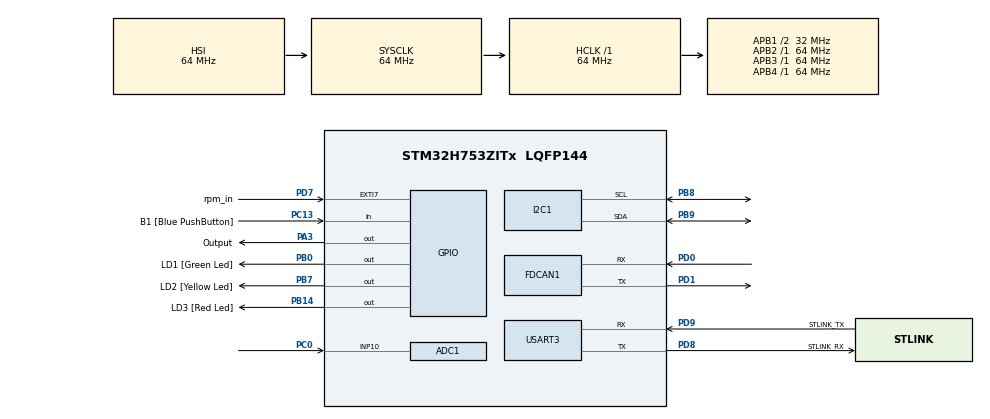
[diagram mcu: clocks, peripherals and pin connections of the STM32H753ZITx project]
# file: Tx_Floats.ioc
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ADC1.Channel-0\#ChannelRegularConversion=ADC_CHANNEL_10
ADC1.NbrOfConversionFlag=1
ADC1.OffsetNumber-0\#ChannelRegularConversion=ADC_OFFSET_NONE
ADC1.OffsetSignedSaturation-0\#ChannelRegularConversion=DISABLE
ADC1.Rank-0\#ChannelRegularConversion=1
ADC1.SamplingTime-0\#ChannelRegularConversion=ADC_SAMPLETIME_1CYCLE_5
ADC1.master=1
CORTEX_M7.CPU_DCache=Disabled
CORTEX_M7.CPU_ICache=Disabled
CORTEX_M7.MPU_Control=__NULL
CORTEX_M7.default_mode_Activation=1
FDCAN1.AutoRetransmission=ENABLE
FDCAN1.CalculateBaudRateNominal=500000
FDCAN1.CalculateTimeBitNominal=2000
FDCAN1.CalculateTimeQuantumNominal=25.0
FDCAN1.DataPrescaler=16
FDCAN1.DataSyncJumpWidth=2
FDCAN1.DataTimeSeg1=2
FDCAN1.DataTimeSeg2=2
FDCAN1.FrameFormat=FDCAN_FRAME_FD_BRS
FDCAN1.NominalPrescaler=1
FDCAN1.NominalSyncJumpWidth=11
FDCAN1.NominalTimeSeg1=68
FDCAN1.NominalTimeSeg2=11
FDCAN1.RxBufferSize=FDCAN_DATA_BYTES_32
FDCAN1.RxFifo0ElmtSize=FDCAN_DATA_BYTES_32
FDCAN1.RxFifo1ElmtSize=FDCAN_DATA_BYTES_32
FDCAN1.StdFiltersNbr=1
FDCAN1.TxElmtSize=FDCAN_DATA_BYTES_32
FDCAN1.TxFifoQueueElmtsNbr=1
I2C1.Timing=0x00707CBB
Mcu.Family=STM32H7
Mcu.Name=STM32H753ZITx
Mcu.Package=LQFP144
NVIC.EXTI9_5_IRQn=true\:0\:0\:false\:false\:true\:true\:true\:true
NVIC.FDCAN1_IT0_IRQn=true\:0\:0\:false\:false\:true\:true\:true\:true
NVIC.PriorityGroup=NVIC_PRIORITYGROUP_4
PA3.GPIO_Label=Output
PA3.Signal=GPIO_Output
PB0.GPIO_Label=LD1 [Green Led]
PB0.Signal=GPIO_Output
PB14.GPIO_Label=LD3 [Red Led]
PB14.Signal=GPIO_Output
PB7.GPIO_Label=LD2 [Yellow Led]
PB7.Signal=GPIO_Output
PB8.Mode=I2C
PB8.Signal=I2C1_SCL
PB9.Mode=I2C
PB9.Signal=I2C1_SDA
PC0.Signal=ADCx_INP10
PC13.GPIO_Label=B1 [Blue PushButton]
PC13.Signal=GPIO_Input
PC14-OSC32_IN\ (OSC32_IN).Signal=RCC_OSC32_IN
PC15-OSC32_OUT\ (OSC32_OUT).Signal=RCC_OSC32_OUT
PD0.Mode=FDCAN_Activate
PD0.Signal=FDCAN1_RX
PD1.Mode=FDCAN_Activate
PD1.Signal=FDCAN1_TX
PD7.GPIO_Label=rpm_in
PD7.Signal=GPXTI7
PD8.GPIO_Label=STLINK_RX
PD8.Mode=Asynchronous
PD8.Signal=USART3_TX
PD9.GPIO_Label=STLINK_TX
PD9.Mode=Asynchronous
PD9.Signal=USART3_RX
PH0-OSC_IN\ (PH0).Signal=RCC_OSC_IN
PH1-OSC_OUT\ (PH1).Signal=RCC_OSC_OUT
ProjectManager.HeapSize=0x200
ProjectManager.StackSize=0x400
ProjectManager.TargetToolchain=STM32CubeIDE
RCC.ADCFreq_Value=80000000
RCC.APB1Freq_Value=32000000
RCC.APB2Freq_Value=64000000
RCC.APB3Freq_Value=64000000
RCC.APB4Freq_Value=64000000
RCC.CortexFreq_Value=64000000
RCC.D2PPRE1=RCC_APB1_DIV2
RCC.DIVM1=4
RCC.DIVM2=4
RCC.DIVN1=10
RCC.DIVN2=10
RCC.DIVQ1=4
RCC.DIVQ2=4
RCC.HCLKFreq_Value=64000000
RCC.HSE_VALUE=8000000
RCC.PLL2FRACN=0
RCC.PLL3FRACN=0
RCC.PLLFRACN=0
RCC.SYSCLKFreq_VALUE=64000000
RCC.USBFreq_Value=40000000
SH.ADCx_INP10.0=ADC1_INP10,IN10-Single-Ended
TIM6.Period=0xffff-1
TIM6.Prescaler=64-1
USART3.VirtualMode-Asynchronous=VM_ASYNC
VP_MEMORYMAP_VS_MEMORYMAP.Mode=CurAppReg
VP_TIM6_VS_ClockSourceINT.Mode=Enable_Timer
board=NUCLEO-H753ZI

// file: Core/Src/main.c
/* USER CODE BEGIN Header */
/**
  ******************************************************************************
  * @file           : main.c
  * @brief          : Main program body
  ******************************************************************************
  * @attention
  *
  * Copyright (c) 2025 STMicroelectronics.
  * All rights reserved.
  *
  * This software is licensed under terms that can be found in the LICENSE file
  * in the root directory of this software component.
  * If no LICENSE file comes with this software, it is provided AS-IS.
  *
  ******************************************************************************
  */
/* USER CODE END Header */
#include "main.h"

/* USER CODE BEGIN Includes */
#include "stdio.h"
#include "string.h"

//CAN BUS
#define NODE_A_ID 1
#define ID_NODE_A_TX 0x100

//Temperature - Humidity
#define DHT_PORT Output_GPIO_Port
#define DHT_PIN Output_Pin

//Accelerometer
#define MMA8451_ADDR        (0x1D << 1) // Dirección I2C (shifted)
#define WHO_AM_I_REG        0x0D
#define CTRL_REG1           0x2A
#define OUT_X_MSB           0x01

//Angle
uint16_t ADC_VAL;
float voltage=0;
float angle=0;

//Temperature - Humidity
uint8_t Rh_byte1, Rh_byte2, Temp_byte1, Temp_byte2, reflex;
uint16_t SUM;
typedef struct {
    float Temperature;
    float Humidity;
} DHT_DataTypedef;
float Temperature, Humidity;

DHT_DataTypedef DHT11_Data;

//Acceleration
int16_t ax, ay, az;
float ax_g, ay_g, az_g;

//RPM
volatile uint32_t pulse_count = 0;
uint32_t last_time = 0;
uint32_t rpm = 0;

uint32_t last_interrupt_time = 0;
const uint32_t debounce_ms = 10;

char msg[300];
/* USER CODE END Includes */

/* USER CODE BEGIN PD */
uint8_t Node_ID = NODE_A_ID;

// Datos CAN
FDCAN_TxHeaderTypeDef TxHeader;

uint8_t TxData[32]; // 3 floats x 4 bytes

float float1 = 3.1416f; // Valor de ejemplo a enviar
float float2 = 2.7182f;
float float3 = 1.34f;
float float4 = 3.70f;
float float5 = 9.18f;
float float6 = 6.79f;
float float7 = 5.93f;
float float8 = 10.99f;

/* USER CODE END PD */

ADC_HandleTypeDef hadc1;

FDCAN_HandleTypeDef hfdcan1;

I2C_HandleTypeDef hi2c1;

TIM_HandleTypeDef htim6;

UART_HandleTypeDef huart3;

void SystemClock_Config(void);
static void MX_GPIO_Init(void);
static void MX_FDCAN1_Init(void);
static void MX_USART3_UART_Init(void);
static void MX_I2C1_Init(void);
static void MX_TIM6_Init(void);
static void MX_ADC1_Init(void);

/* USER CODE BEGIN 0 */
void SendFloat(float value1,float value2,float value3,float value4,float value5,float value6,float value7)
{
    // Copiar los floats al buffer
    memcpy(&TxData[0],  &value1, sizeof(float));
    memcpy(&TxData[4],  &value2, sizeof(float));
    memcpy(&TxData[8],  &value3, sizeof(float));
    memcpy(&TxData[12], &value4, sizeof(float));
    memcpy(&TxData[16], &value5, sizeof(float));
    memcpy(&TxData[20], &value6, sizeof(float));
    memcpy(&TxData[24], &value7, sizeof(float));
    //memcpy(&TxData[28], &value8, sizeof(float));

    // Configurar el header (asegúrate de que esto ya está inicializado)
    TxHeader.DataLength = FDCAN_DLC_BYTES_32;  // 12 bytes
    TxHeader.IdType = FDCAN_STANDARD_ID;       // ID estándar

    // Enviar
    if (HAL_FDCAN_AddMessageToTxFifoQ(&hfdcan1, &TxHeader, TxData) != HAL_OK) {
        // Manejar error de transmisión
        Error_Handler();
    }
}

// ***** CODE Interruption for RPM Sensor
void HAL_GPIO_EXTI_Callback(uint16_t GPIO_Pin)
{
    if (GPIO_Pin == rpm_in_Pin)
    {
        uint32_t now = HAL_GetTick();
        if (now - last_interrupt_time > debounce_ms)
        {
            pulse_count++;
            last_interrupt_time = now;
        }
    }
}

// ***** CODE for Sensor DHT-11 Temperature Humidity Sensor

void delay (uint16_t delay)
{
	__HAL_TIM_SET_COUNTER(&htim6,0);
	while (__HAL_TIM_GET_COUNTER(&htim6) < delay);
}
uint8_t Presence = 0;
void Set_Pin_Output (GPIO_TypeDef *GPIOx, uint16_t GPIO_Pin)
{
	GPIO_InitTypeDef GPIO_InitStruct = {0};
	GPIO_InitStruct.Pin = GPIO_Pin;
	GPIO_InitStruct.Mode = GPIO_MODE_OUTPUT_PP;
	GPIO_InitStruct.Speed = GPIO_SPEED_FREQ_LOW;
	HAL_GPIO_Init(GPIOx, &GPIO_InitStruct);
}
void Set_Pin_Input (GPIO_TypeDef *GPIOx, uint16_t GPIO_Pin)
{
	GPIO_InitTypeDef GPIO_InitStruct = {0};
	GPIO_InitStruct.Pin = GPIO_Pin;
	GPIO_InitStruct.Mode = GPIO_MODE_INPUT;
	GPIO_InitStruct.Pull = GPIO_NOPULL;
	HAL_GPIO_Init(GPIOx, &GPIO_InitStruct);
}

void DHT_Start (void)
{
	Set_Pin_Output (DHT_PORT, DHT_PIN);  // set the pin as output
	HAL_GPIO_WritePin (DHT_PORT, DHT_PIN, 0);   // pull the pin low

	delay (18000);   // wait for 18ms

    HAL_GPIO_WritePin (DHT_PORT, DHT_PIN, 1);   // pull the pin high
    delay (20);   // wait for 30us
	Set_Pin_Input(DHT_PORT, DHT_PIN);    // set as input
}

uint8_t DHT_Check_Response (void)
{
	uint8_t Response = 0;
	delay (40);
	if (!(HAL_GPIO_ReadPin (DHT_PORT, DHT_PIN)))
	{
		delay (80);
		if ((HAL_GPIO_ReadPin (DHT_PORT, DHT_PIN))) Response = 1;
		else Response = -1;
	}
	while ((HAL_GPIO_ReadPin (DHT_PORT, DHT_PIN)));   // wait for the pin to go low

	return Response;
}

uint8_t DHT_Read (void)
{
    uint8_t i = 0, j = 0;
    for (j = 0; j < 8; j++)
    {
        uint32_t timeout = 0;
        while (!(HAL_GPIO_ReadPin (DHT_PORT, DHT_PIN)) && timeout++ < 1000);
        delay (40);
        if (!(HAL_GPIO_ReadPin (DHT_PORT, DHT_PIN)))
        {
            i &= ~(1 << (7 - j)); // Escribe 0 en el bit
        }
        else {
            i |= (1 << (7 - j));  // Escribe 1 en el bit
        }

        timeout = 0;
        while ((HAL_GPIO_ReadPin (DHT_PORT, DHT_PIN)) && timeout++ < 1000);
    }
    return i;
}

void DHT_GetData (DHT_DataTypedef *DHT_Data)
{
    DHT_Start ();
	Presence = DHT_Check_Response ();
	Rh_byte1 = DHT_Read ();
	Rh_byte2 = DHT_Read ();
	Temp_byte1 = DHT_Read ();
	Temp_byte2 = DHT_Read ();
	SUM = DHT_Read();

	if (SUM == (Rh_byte1+Rh_byte2+Temp_byte1+Temp_byte2))
	{
		DHT_Data->Temperature = Temp_byte1;
		DHT_Data->Humidity = Rh_byte1;

	}
}

// ***** CODE for Acceleration Sensor
uint8_t read_register(uint8_t reg) {
    uint8_t value;
    HAL_I2C_Mem_Read(&hi2c1, MMA8451_ADDR, reg, 1, &value, 1, HAL_MAX_DELAY);
    return value;
}

void write_register(uint8_t reg, uint8_t value) {
    HAL_I2C_Mem_Write(&hi2c1, MMA8451_ADDR, reg, 1, &value, 1, HAL_MAX_DELAY);
}

int16_t convert_accel(uint8_t msb, uint8_t lsb) {
    int16_t value = (msb << 8) | lsb;
    value = value >> 2;
    if (value & (1 << 13)) {
        value |= 0xC000;
    }
    return value;
}

void read_accel(int16_t *x, int16_t *y, int16_t *z) {
    uint8_t data[6];
    HAL_I2C_Mem_Read(&hi2c1, MMA8451_ADDR, OUT_X_MSB, 1, data, 6, HAL_MAX_DELAY);

    *x = convert_accel(data[0], data[1]);
    *y = convert_accel(data[2], data[3]);
    *z = convert_accel(data[4], data[5]);
}

/* USER CODE END 0 */

int main(void)
{

  /* MCU Configuration--------------------------------------------------------*/

  /* Reset of all peripherals, Initializes the Flash interface and the Systick. */
  HAL_Init();

  /* Configure the system clock */
  SystemClock_Config();

  /* Initialize all configured peripherals */
  MX_GPIO_Init();
  MX_FDCAN1_Init();
  MX_USART3_UART_Init();
  MX_I2C1_Init();
  MX_TIM6_Init();
  MX_ADC1_Init();
  /* USER CODE BEGIN 2 */

  //RPM flag
  last_time = HAL_GetTick();
  //Timer 6 flag start DHT-11
  HAL_TIM_Base_Start(&htim6);

  HAL_FDCAN_Start(&hfdcan1);
  HAL_FDCAN_ActivateNotification(&hfdcan1, FDCAN_IT_RX_FIFO0_NEW_MESSAGE, 0);

  // Configurar header de transmisión
  TxHeader.Identifier = ID_NODE_A_TX;
  TxHeader.IdType = FDCAN_STANDARD_ID;
  TxHeader.TxFrameType = FDCAN_DATA_FRAME;
  TxHeader.DataLength = FDCAN_DLC_BYTES_64;
  TxHeader.ErrorStateIndicator = FDCAN_ESI_ACTIVE;
  TxHeader.BitRateSwitch = FDCAN_BRS_ON;
  TxHeader.FDFormat = FDCAN_FD_CAN;
  TxHeader.TxEventFifoControl = FDCAN_NO_TX_EVENTS;
  TxHeader.MessageMarker = 0;

  //Acceration starter
  int16_t ax, ay, az;
  uint8_t who_am_i = read_register(WHO_AM_I_REG);
  if (who_am_i != 0x1A) {  // El valor esperado para MMA8451
      Error_Handler();
  }
  // Config. Acceleration
  write_register(CTRL_REG1, 0x01);  // Activar a 800Hz en modo activo
  HAL_Delay(10);

  /* USER CODE END 2 */

  /* Infinite loop */
  while (1)
  {

    /* USER CODE BEGIN 3 */

      //Angle ADC1
	  HAL_ADC_Start(&hadc1);
	  HAL_ADC_PollForConversion(&hadc1, 10);
	  ADC_VAL=HAL_ADC_GetValue(&hadc1);
	  HAL_ADC_Stop(&hadc1);
	  voltage = (float)(ADC_VAL*3.3f)/ 65535.0f;
	  angle = (voltage*235)/3.3;

	  //DHT_11 Start
      DHT_GetData(&DHT11_Data);
      Temperature = DHT11_Data.Temperature;
      Humidity = DHT11_Data.Humidity;

	  //Read accel
	  read_accel(&ax, &ay, &az);
	  float ax_ms2 = ax / 4096.0f * 9.81f;
	  float ay_ms2 = ay / 4096.0f * 9.81f;
	  float az_ms2 = az / 4096.0f * 9.81f;

	  //Function RPM
	  uint32_t now = HAL_GetTick();
	  if (now - last_time >= 1000) // Cada 1 segundo
	  {
		  rpm = pulse_count * 60;
		  pulse_count = 0;
		  last_time = now;
	  }

	 if ( (Node_ID == NODE_A_ID)  )
	  {
		  SendFloat(Temperature,Humidity,ax_ms2,ay_ms2,az_ms2,angle,rpm);
		  HAL_Delay(1000);

	  // Cambiar el valor para el próximo envío (opcional)
	  //float1 += 0.1f;
	  }

	  snprintf(msg, sizeof(msg), "Temp: %.2f, Humidity: %.2f \r\n  Ax: %.2f,  Ay: %.2f, Az: %.2f \r\n Angle: %.2f, RPM: %lu \r\n", Temperature,Humidity,ax_ms2,ay_ms2,az_ms2,angle,rpm);
	  HAL_UART_Transmit(&huart3, (uint8_t*)msg, strlen(msg), HAL_MAX_DELAY);

	  HAL_Delay(1000);

  }
  /* USER CODE END 3 */
}

void SystemClock_Config(void)
{
  RCC_OscInitTypeDef RCC_OscInitStruct = {0};
  RCC_ClkInitTypeDef RCC_ClkInitStruct = {0};

  /** Supply configuration update enable
  */
  HAL_PWREx_ConfigSupply(PWR_LDO_SUPPLY);

  /** Configure the main internal regulator output voltage
  */
  __HAL_PWR_VOLTAGESCALING_CONFIG(PWR_REGULATOR_VOLTAGE_SCALE3);

  while(!__HAL_PWR_GET_FLAG(PWR_FLAG_VOSRDY)) {}

  /** Initializes the RCC Oscillators according to the specified parameters
  * in the RCC_OscInitTypeDef structure.
  */
  RCC_OscInitStruct.OscillatorType = RCC_OSCILLATORTYPE_HSI;
  RCC_OscInitStruct.HSIState = RCC_HSI_DIV1;
  RCC_OscInitStruct.HSICalibrationValue = RCC_HSICALIBRATION_DEFAULT;
  RCC_OscInitStruct.PLL.PLLState = RCC_PLL_ON;
  RCC_OscInitStruct.PLL.PLLSource = RCC_PLLSOURCE_HSI;
  RCC_OscInitStruct.PLL.PLLM = 4;
  RCC_OscInitStruct.PLL.PLLN = 10;
  RCC_OscInitStruct.PLL.PLLP = 2;
  RCC_OscInitStruct.PLL.PLLQ = 4;
  RCC_OscInitStruct.PLL.PLLR = 2;
  RCC_OscInitStruct.PLL.PLLRGE = RCC_PLL1VCIRANGE_3;
  RCC_OscInitStruct.PLL.PLLVCOSEL = RCC_PLL1VCOMEDIUM;
  RCC_OscInitStruct.PLL.PLLFRACN = 0;
  if (HAL_RCC_OscConfig(&RCC_OscInitStruct) != HAL_OK)
  {
    Error_Handler();
  }

  /** Initializes the CPU, AHB and APB buses clocks
  */
  RCC_ClkInitStruct.ClockType = RCC_CLOCKTYPE_HCLK|RCC_CLOCKTYPE_SYSCLK
                              |RCC_CLOCKTYPE_PCLK1|RCC_CLOCKTYPE_PCLK2
                              |RCC_CLOCKTYPE_D3PCLK1|RCC_CLOCKTYPE_D1PCLK1;
  RCC_ClkInitStruct.SYSCLKSource = RCC_SYSCLKSOURCE_HSI;
  RCC_ClkInitStruct.SYSCLKDivider = RCC_SYSCLK_DIV1;
  RCC_ClkInitStruct.AHBCLKDivider = RCC_HCLK_DIV1;
  RCC_ClkInitStruct.APB3CLKDivider = RCC_APB3_DIV1;
  RCC_ClkInitStruct.APB1CLKDivider = RCC_APB1_DIV2;
  RCC_ClkInitStruct.APB2CLKDivider = RCC_APB2_DIV1;
  RCC_ClkInitStruct.APB4CLKDivider = RCC_APB4_DIV1;

  if (HAL_RCC_ClockConfig(&RCC_ClkInitStruct, FLASH_LATENCY_1) != HAL_OK)
  {
    Error_Handler();
  }
}

static void MX_ADC1_Init(void)
{

  ADC_MultiModeTypeDef multimode = {0};
  ADC_ChannelConfTypeDef sConfig = {0};

  /** Common config
  */
  hadc1.Instance = ADC1;
  hadc1.Init.ClockPrescaler = ADC_CLOCK_ASYNC_DIV2;
  hadc1.Init.Resolution = ADC_RESOLUTION_16B;
  hadc1.Init.ScanConvMode = ADC_SCAN_DISABLE;
  hadc1.Init.EOCSelection = ADC_EOC_SINGLE_CONV;
  hadc1.Init.LowPowerAutoWait = DISABLE;
  hadc1.Init.ContinuousConvMode = DISABLE;
  hadc1.Init.NbrOfConversion = 1;
  hadc1.Init.DiscontinuousConvMode = DISABLE;
  hadc1.Init.ExternalTrigConv = ADC_SOFTWARE_START;
  hadc1.Init.ExternalTrigConvEdge = ADC_EXTERNALTRIGCONVEDGE_NONE;
  hadc1.Init.ConversionDataManagement = ADC_CONVERSIONDATA_DR;
  hadc1.Init.Overrun = ADC_OVR_DATA_PRESERVED;
  hadc1.Init.LeftBitShift = ADC_LEFTBITSHIFT_NONE;
  hadc1.Init.OversamplingMode = DISABLE;
  hadc1.Init.Oversampling.Ratio = 1;
  if (HAL_ADC_Init(&hadc1) != HAL_OK)
  {
    Error_Handler();
  }

  /** Configure the ADC multi-mode
  */
  multimode.Mode = ADC_MODE_INDEPENDENT;
  if (HAL_ADCEx_MultiModeConfigChannel(&hadc1, &multimode) != HAL_OK)
  {
    Error_Handler();
  }

  /** Configure Regular Channel
  */
  sConfig.Channel = ADC_CHANNEL_10;
  sConfig.Rank = ADC_REGULAR_RANK_1;
  sConfig.SamplingTime = ADC_SAMPLETIME_1CYCLE_5;
  sConfig.SingleDiff = ADC_SINGLE_ENDED;
  sConfig.OffsetNumber = ADC_OFFSET_NONE;
  sConfig.Offset = 0;
  sConfig.OffsetSignedSaturation = DISABLE;
  if (HAL_ADC_ConfigChannel(&hadc1, &sConfig) != HAL_OK)
  {
    Error_Handler();
  }

}

static void MX_FDCAN1_Init(void)
{

  hfdcan1.Instance = FDCAN1;
  hfdcan1.Init.FrameFormat = FDCAN_FRAME_FD_BRS;
  hfdcan1.Init.Mode = FDCAN_MODE_NORMAL;
  hfdcan1.Init.AutoRetransmission = ENABLE;
  hfdcan1.Init.TransmitPause = DISABLE;
  hfdcan1.Init.ProtocolException = DISABLE;
  hfdcan1.Init.NominalPrescaler = 1;
  hfdcan1.Init.NominalSyncJumpWidth = 11;
  hfdcan1.Init.NominalTimeSeg1 = 68;
  hfdcan1.Init.NominalTimeSeg2 = 11;
  hfdcan1.Init.DataPrescaler = 16;
  hfdcan1.Init.DataSyncJumpWidth = 2;
  hfdcan1.Init.DataTimeSeg1 = 2;
  hfdcan1.Init.DataTimeSeg2 = 2;
  hfdcan1.Init.MessageRAMOffset = 0;
  hfdcan1.Init.StdFiltersNbr = 1;
  hfdcan1.Init.ExtFiltersNbr = 0;
  hfdcan1.Init.RxFifo0ElmtsNbr = 0;
  hfdcan1.Init.RxFifo0ElmtSize = FDCAN_DATA_BYTES_32;
  hfdcan1.Init.RxFifo1ElmtsNbr = 0;
  hfdcan1.Init.RxFifo1ElmtSize = FDCAN_DATA_BYTES_32;
  hfdcan1.Init.RxBuffersNbr = 0;
  hfdcan1.Init.RxBufferSize = FDCAN_DATA_BYTES_32;
  hfdcan1.Init.TxEventsNbr = 0;
  hfdcan1.Init.TxBuffersNbr = 0;
  hfdcan1.Init.TxFifoQueueElmtsNbr = 1;
  hfdcan1.Init.TxFifoQueueMode = FDCAN_TX_FIFO_OPERATION;
  hfdcan1.Init.TxElmtSize = FDCAN_DATA_BYTES_32;
  if (HAL_FDCAN_Init(&hfdcan1) != HAL_OK)
  {
    Error_Handler();
  }

}

static void MX_I2C1_Init(void)
{

  hi2c1.Instance = I2C1;
  hi2c1.Init.Timing = 0x00707CBB;
  hi2c1.Init.OwnAddress1 = 0;
  hi2c1.Init.AddressingMode = I2C_ADDRESSINGMODE_7BIT;
  hi2c1.Init.DualAddressMode = I2C_DUALADDRESS_DISABLE;
  hi2c1.Init.OwnAddress2 = 0;
  hi2c1.Init.OwnAddress2Masks = I2C_OA2_NOMASK;
  hi2c1.Init.GeneralCallMode = I2C_GENERALCALL_DISABLE;
  hi2c1.Init.NoStretchMode = I2C_NOSTRETCH_DISABLE;
  if (HAL_I2C_Init(&hi2c1) != HAL_OK)
  {
    Error_Handler();
  }

  /** Configure Analogue filter
  */
  if (HAL_I2CEx_ConfigAnalogFilter(&hi2c1, I2C_ANALOGFILTER_ENABLE) != HAL_OK)
  {
    Error_Handler();
  }

  /** Configure Digital filter
  */
  if (HAL_I2CEx_ConfigDigitalFilter(&hi2c1, 0) != HAL_OK)
  {
    Error_Handler();
  }

}

static void MX_TIM6_Init(void)
{

  TIM_MasterConfigTypeDef sMasterConfig = {0};

  htim6.Instance = TIM6;
  htim6.Init.Prescaler = 64-1;
  htim6.Init.CounterMode = TIM_COUNTERMODE_UP;
  htim6.Init.Period = 0xffff-1;
  htim6.Init.AutoReloadPreload = TIM_AUTORELOAD_PRELOAD_DISABLE;
  if (HAL_TIM_Base_Init(&htim6) != HAL_OK)
  {
    Error_Handler();
  }
  sMasterConfig.MasterOutputTrigger = TIM_TRGO_RESET;
  sMasterConfig.MasterSlaveMode = TIM_MASTERSLAVEMODE_DISABLE;
  if (HAL_TIMEx_MasterConfigSynchronization(&htim6, &sMasterConfig) != HAL_OK)
  {
    Error_Handler();
  }

}

static void MX_USART3_UART_Init(void)
{

  huart3.Instance = USART3;
  huart3.Init.BaudRate = 115200;
  huart3.Init.WordLength = UART_WORDLENGTH_8B;
  huart3.Init.StopBits = UART_STOPBITS_1;
  huart3.Init.Parity = UART_PARITY_NONE;
  huart3.Init.Mode = UART_MODE_TX_RX;
  huart3.Init.HwFlowCtl = UART_HWCONTROL_NONE;
  huart3.Init.OverSampling = UART_OVERSAMPLING_16;
  huart3.Init.OneBitSampling = UART_ONE_BIT_SAMPLE_DISABLE;
  huart3.Init.ClockPrescaler = UART_PRESCALER_DIV1;
  huart3.AdvancedInit.AdvFeatureInit = UART_ADVFEATURE_NO_INIT;
  if (HAL_UART_Init(&huart3) != HAL_OK)
  {
    Error_Handler();
  }
  if (HAL_UARTEx_SetTxFifoThreshold(&huart3, UART_TXFIFO_THRESHOLD_1_8) != HAL_OK)
  {
    Error_Handler();
  }
  if (HAL_UARTEx_SetRxFifoThreshold(&huart3, UART_RXFIFO_THRESHOLD_1_8) != HAL_OK)
  {
    Error_Handler();
  }
  if (HAL_UARTEx_DisableFifoMode(&huart3) != HAL_OK)
  {
    Error_Handler();
  }

}

static void MX_GPIO_Init(void)
{
  GPIO_InitTypeDef GPIO_InitStruct = {0};

  /* GPIO Ports Clock Enable */
  __HAL_RCC_GPIOC_CLK_ENABLE();
  __HAL_RCC_GPIOH_CLK_ENABLE();
  __HAL_RCC_GPIOA_CLK_ENABLE();
  __HAL_RCC_GPIOB_CLK_ENABLE();
  __HAL_RCC_GPIOD_CLK_ENABLE();

  /*Configure GPIO pin Output Level */
  HAL_GPIO_WritePin(Output_GPIO_Port, Output_Pin, GPIO_PIN_RESET);

  /*Configure GPIO pin Output Level */
  HAL_GPIO_WritePin(GPIOB, LD1_Pin|LD3_Pin|LD2_Pin, GPIO_PIN_RESET);

  /*Configure GPIO pin : B1_Pin */
  GPIO_InitStruct.Pin = B1_Pin;
  GPIO_InitStruct.Mode = GPIO_MODE_INPUT;
  GPIO_InitStruct.Pull = GPIO_NOPULL;
  HAL_GPIO_Init(B1_GPIO_Port, &GPIO_InitStruct);

  /*Configure GPIO pin : Output_Pin */
  GPIO_InitStruct.Pin = Output_Pin;
  GPIO_InitStruct.Mode = GPIO_MODE_OUTPUT_PP;
  GPIO_InitStruct.Pull = GPIO_NOPULL;
  GPIO_InitStruct.Speed = GPIO_SPEED_FREQ_LOW;
  HAL_GPIO_Init(Output_GPIO_Port, &GPIO_InitStruct);

  /*Configure GPIO pins : LD1_Pin LD3_Pin LD2_Pin */
  GPIO_InitStruct.Pin = LD1_Pin|LD3_Pin|LD2_Pin;
  GPIO_InitStruct.Mode = GPIO_MODE_OUTPUT_PP;
  GPIO_InitStruct.Pull = GPIO_NOPULL;
  GPIO_InitStruct.Speed = GPIO_SPEED_FREQ_LOW;
  HAL_GPIO_Init(GPIOB, &GPIO_InitStruct);

  /*Configure GPIO pin : rpm_in_Pin */
  GPIO_InitStruct.Pin = rpm_in_Pin;
  GPIO_InitStruct.Mode = GPIO_MODE_IT_RISING;
  GPIO_InitStruct.Pull = GPIO_NOPULL;
  HAL_GPIO_Init(rpm_in_GPIO_Port, &GPIO_InitStruct);

  /* EXTI interrupt init*/
  HAL_NVIC_SetPriority(rpm_in_EXTI_IRQn, 0, 0);
  HAL_NVIC_EnableIRQ(rpm_in_EXTI_IRQn);

}

void Error_Handler(void)
{
  __disable_irq();
  while (1)
  {
  }
}
